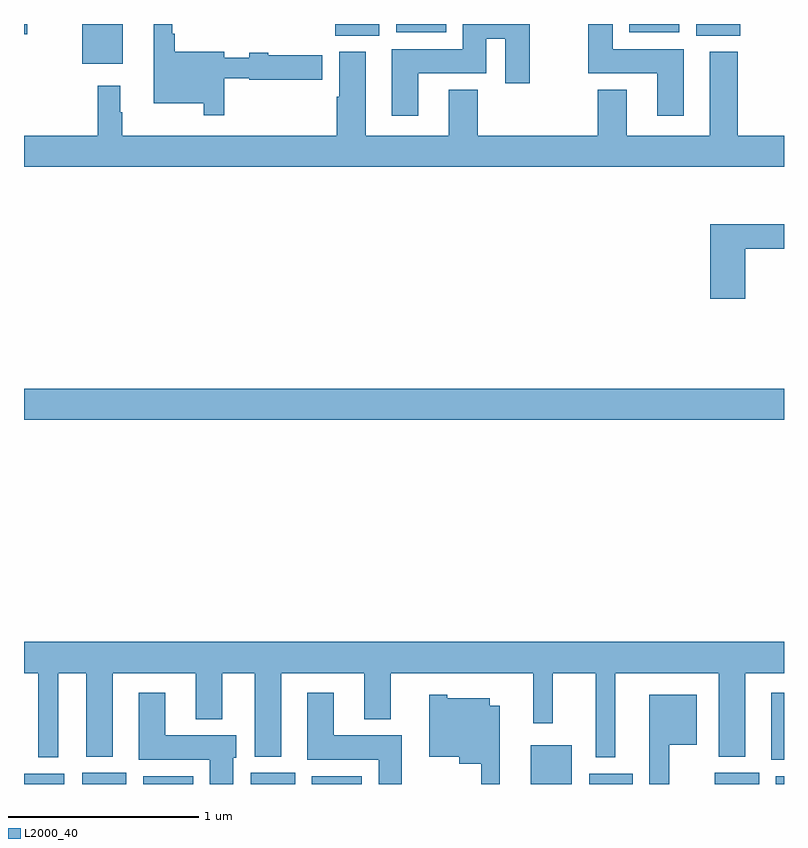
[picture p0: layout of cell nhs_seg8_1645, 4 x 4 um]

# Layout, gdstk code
import gdstk
lib = gdstk.Library(unit=1e-6, precision=1e-09)
def R(c, l, rs):  # rectangles x0, y0, x1, y1
    for r in rs: c.add(gdstk.rectangle(r[:2], r[2:], *l))
def P(c, l, *ps):  # polygons
    for p in ps: c.add(gdstk.Polygon(p, *l))
L2000_40 = (2000, 40)

nhs_seg8_1645 = lib.new_cell('nhs_seg8_1645')
R(nhs_seg8_1645, L2000_40, [(215,1131.9,215.212,1131.955), (215.306,1131.9,215.539,1131.958), (215.627,1131.9,215.89,1131.94), (216.194,1131.9,216.427,1131.958), (216.515,1131.9,216.778,1131.94), (217.667,1131.9,217.882,1132.105), (217.976,1131.9,218.203,1131.955), (218.636,1131.9,218.869,1131.958), (218.957,1131.9,219,1131.94), (218.933,1132.028,219,1132.381), (215,1133.816,219,1133.98), (215.306,1135.691,215.521,1135.9), (216.638,1135.838,216.871,1135.9), (218.537,1135.838,218.77,1135.9), (215,1135.847,215.017,1135.9), (216.959,1135.856,217.222,1135.9), (218.186,1135.856,218.449,1135.9)])
P(nhs_seg8_1645, L2000_40, [(217.075,1135.64),(217.432,1135.64),(217.432,1135.823),(217.532,1135.823),(217.532,1135.587),(217.662,1135.587),(217.662,1135.9),(217.31,1135.9),(217.31,1135.768),(216.935,1135.768),(216.935,1135.416),(217.075,1135.416)],
  [(216.055,1135.614),(216.186,1135.614),(216.186,1135.606),(216.571,1135.606),(216.571,1135.735),(216.286,1135.735),(216.286,1135.75),(216.186,1135.75),(216.186,1135.723),(216.055,1135.723),(216.055,1135.753),(215.794,1135.753),(215.794,1135.849),(215.781,1135.849),(215.781,1135.9),(215.684,1135.9),(215.684,1135.484),(215.946,1135.484),(215.946,1135.419),(216.055,1135.419)],
  [(218.473,1135.768),(218.098,1135.768),(218.098,1135.9),(217.969,1135.9),(217.969,1135.64),(218.333,1135.64),(218.333,1135.416),(218.473,1135.416)],
  [(219,1135.312),(218.757,1135.312),(218.757,1135.753),(218.609,1135.753),(218.609,1135.312),(218.173,1135.312),(218.173,1135.555),(218.021,1135.555),(218.021,1135.312),(217.388,1135.312),(217.388,1135.555),(217.235,1135.555),(217.235,1135.312),(216.799,1135.312),(216.799,1135.753),(216.659,1135.753),(216.659,1135.517),(216.647,1135.517),(216.647,1135.312),(215.518,1135.312),(215.518,1135.436),(215.506,1135.436),(215.506,1135.576),(215.389,1135.576),(215.389,1135.312),(215,1135.312),(215,1135.148),(219,1135.148)],
  [(218.795,1134.718),(219,1134.718),(219,1134.847),(218.612,1134.847),(218.612,1134.453),(218.795,1134.453)],
  [(215.179,1132.484),(215.327,1132.484),(215.327,1132.043),(215.467,1132.043),(215.467,1132.484),(215.903,1132.484),(215.903,1132.241),(216.043,1132.241),(216.043,1132.484),(216.215,1132.484),(216.215,1132.043),(216.355,1132.043),(216.355,1132.484),(216.791,1132.484),(216.791,1132.241),(216.931,1132.241),(216.931,1132.484),(217.681,1132.484),(217.681,1132.221),(217.782,1132.221),(217.782,1132.484),(218.009,1132.484),(218.009,1132.04),(218.113,1132.04),(218.113,1132.484),(218.657,1132.484),(218.657,1132.043),(218.797,1132.043),(218.797,1132.484),(219,1132.484),(219,1132.648),(215,1132.648),(215,1132.484),(215.075,1132.484),(215.075,1132.04),(215.179,1132.04)],
  [(216.1,1132.038),(216.118,1132.038),(216.118,1132.156),(215.743,1132.156),(215.743,1132.381),(215.603,1132.381),(215.603,1132.028),(215.978,1132.028),(215.978,1131.9),(216.1,1131.9)],
  [(216.988,1132.156),(216.631,1132.156),(216.631,1132.381),(216.491,1132.381),(216.491,1132.028),(216.866,1132.028),(216.866,1131.9),(216.988,1131.9)],
  [(217.504,1132.312),(217.45,1132.312),(217.45,1132.351),(217.227,1132.351),(217.227,1132.369),(217.133,1132.369),(217.133,1132.043),(217.292,1132.043),(217.292,1132.007),(217.407,1132.007),(217.407,1131.9),(217.504,1131.9)],
  [(218.395,1132.106),(218.542,1132.106),(218.542,1132.369),(218.291,1132.369),(218.291,1131.9),(218.395,1131.9)])

lib.write_gds('nhs_seg8_1645.gds')
